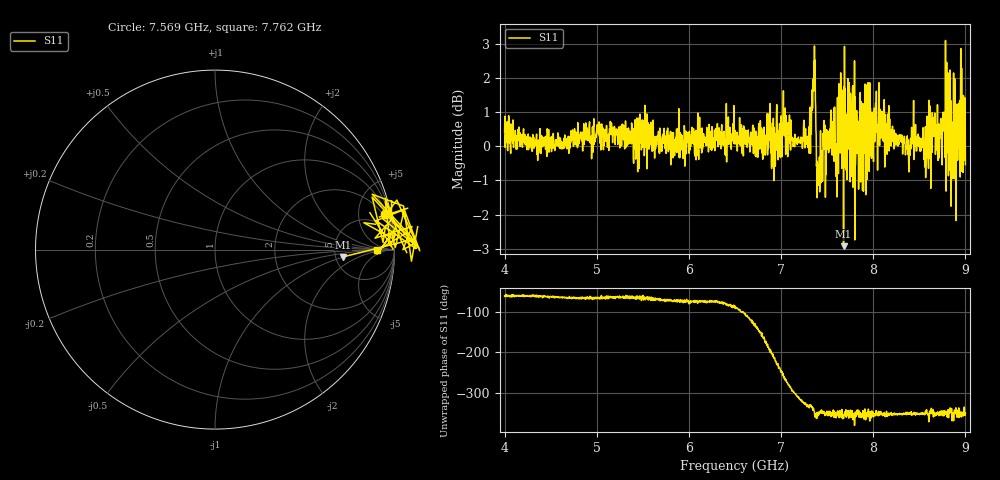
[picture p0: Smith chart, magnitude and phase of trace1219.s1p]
! Created with skrf 1.8.0 (http://scikit-rf.org).
# Hz S RI R 50.0
!freq ReS11 ImS11
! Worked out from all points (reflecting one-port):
!   1601 points, 4 GHz to 9 GHz, reference 50 ohm
!   lowest |S11| = -2.9 dB at 7.678 GHz (marker M1), VSWR 5.99, Z = 291 - j48.3 ohm
!   phase of S11 starts at -61 deg and turns -289 deg over the sweep
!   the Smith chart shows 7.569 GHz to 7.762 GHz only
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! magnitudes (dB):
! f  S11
! 4 GHz  0.4
! 4.625 GHz  0.0
! 5.25 GHz  0.0
! 5.875 GHz  0.2
! 6.5 GHz  0.5
! 6.806 GHz  0.5
! 6.859 GHz  0.9
! 6.912 GHz  0.1
! 7.038 GHz  0.6
! 7.125 GHz  0.2
! 7.294 GHz  0.0
! 7.35 GHz  2.0
! 7.409 GHz  -1.0
! 7.519 GHz  -0.1
! 7.591 GHz  -0.1
! 7.65 GHz  1.3
! 7.678 GHz  -2.9
! 7.75 GHz  -1.0
! 7.784 GHz  -0.2
! 8.047 GHz  -0.7
! 8.375 GHz  0.0
! 8.441 GHz  -0.4
! 8.575 GHz  0.0
! 8.628 GHz  -0.1
! 8.784 GHz  3.1
! 8.841 GHz  1.3
! 8.956 GHz  0.3
! 9 GHz  -0.5
